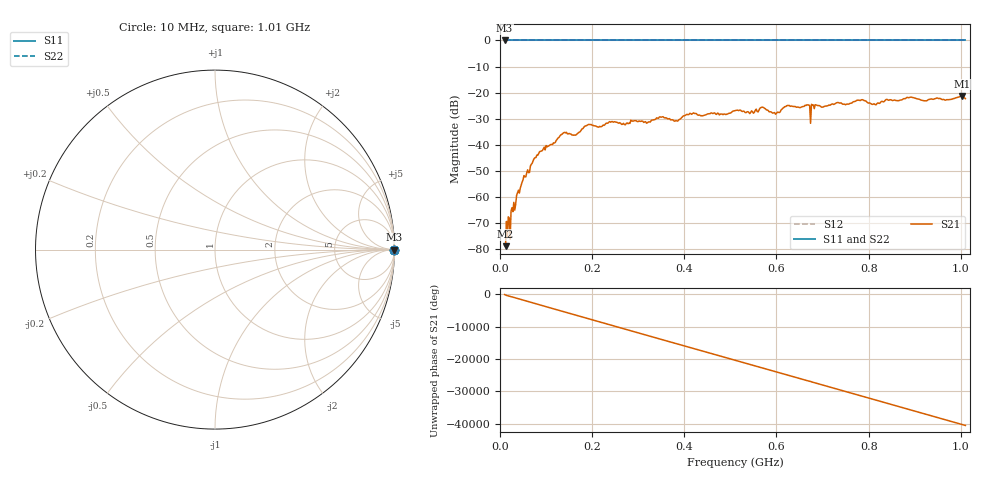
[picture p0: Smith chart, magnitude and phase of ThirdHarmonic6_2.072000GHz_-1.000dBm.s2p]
! 8/17/2025 12:49:16 AM
! C:\ANRITSUVNA\TEMP\TEMP.S2P
! CHANNEL.1
! TR.MEASUREMENT
! RAW.DATA
! RF.CORRECTION.OFF
! AVERAGING.OFF
! IF.BANDWIDTH: 5KHZ
! SWEEPTYPE:  FREQ.SWEEP(Linear)
! Reference Plane Port Info
! PORT:  PORT1  PORT2
! DISTANCE:  0  m  0  m
! TIME:  0  s  0  s
! PHASE.OFFSET:  0  deg.  0  deg.
! LOSS:  0  dB  0  dB
! REF.LOSS:  0  dB  0  dB
! REF.FREQ:  0  Hz  0  Hz
! Power Info
! POWER:  -20  dBm  -20  dBm
! EFF.POWER:  -20  dBm  -20  dBm
! SOURCE.ATTEN:  0  dB  0  dB
! TEST.ATTEN:  0  dB  0  dB
# GHZ S RI R 50.0
! FREQ.GHZ  S11RE  S11IM  S21RE  S21IM  S12RE  S12IM  S22RE  S22IM
!; PortSelection: Port_12
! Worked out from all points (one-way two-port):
!   501 points, 10 MHz to 1.01 GHz, reference 50 ohm
!   highest |S21| = -21.22 dB at 1.002 GHz (marker M1); lowest = -78.8 dB at 12 MHz (marker M2)
!   lowest |S11| = 0.0 dB at 10 MHz (marker M3)
!   |S11| at or under -10 dB: nowhere
!   |S22| runs from 0.0 to 0.0 dB; largest |S21 - S12| = 1.1
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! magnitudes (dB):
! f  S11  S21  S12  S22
! 10 MHz  0.0  -78.5  0.0  0.0
! 12 MHz  0.0  -78.8  0.0  0.0
! 16 MHz  0.0  -75.5  0.0  0.0
! 40 MHz  0.0  -57.4  0.0  0.0
! 76 MHz  0.0  -44.9  0.0  0.0
! 136 MHz  0.0  -35.7  0.0  0.0
! 162 MHz  0.0  -36.2  0.0  0.0
! 178 MHz  0.0  -33.9  0.0  0.0
! 194 MHz  0.0  -32.2  0.0  0.0
! 344 MHz  0.0  -29.8  0.0  0.0
! 382 MHz  0.0  -30.7  0.0  0.0
! 416 MHz  0.0  -28.3  0.0  0.0
! 510 MHz  0.0  -26.9  0.0  0.0
! 570 MHz  0.0  -25.6  0.0  0.0
! 596 MHz  0.0  -27.6  0.0  0.0
! 624 MHz  0.0  -24.9  0.0  0.0
! 666 MHz  0.0  -24.7  0.0  0.0
! 678 MHz  0.0  -24.8  0.0  0.0
! 680 MHz  0.0  -24.7  0.0  0.0
! 844 MHz  0.0  -22.9  0.0  0.0
! 1.002 GHz  0.0  -21.2  0.0  0.0
! 1.01 GHz  0.0  -22.3  0.0  0.0
